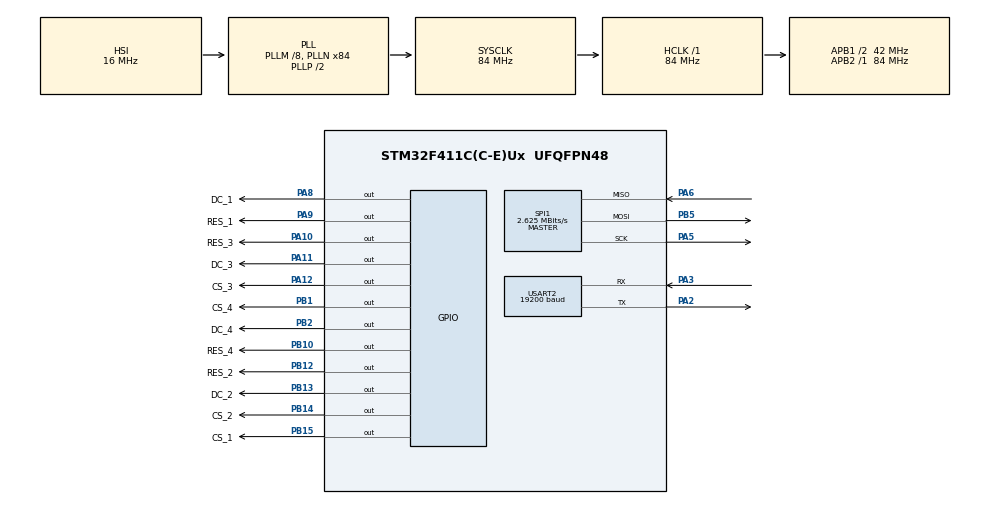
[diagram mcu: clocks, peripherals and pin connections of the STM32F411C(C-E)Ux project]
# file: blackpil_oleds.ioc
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Mcu.Family=STM32F4
Mcu.Name=STM32F411C(C-E)Ux
Mcu.Package=UFQFPN48
NVIC.PriorityGroup=NVIC_PRIORITYGROUP_4
NVIC.USART2_IRQn=true\:0\:0\:false\:false\:true\:true\:true\:true
PA10.GPIO_Label=RES_3
PA10.Signal=GPIO_Output
PA11.GPIO_Label=DC_3
PA11.Signal=GPIO_Output
PA12.GPIO_Label=CS_3
PA12.Signal=GPIO_Output
PA2.Mode=Asynchronous
PA2.Signal=USART2_TX
PA3.Mode=Asynchronous
PA3.Signal=USART2_RX
PA5.Mode=Full_Duplex_Master
PA5.Signal=SPI1_SCK
PA6.Mode=Full_Duplex_Master
PA6.Signal=SPI1_MISO
PA8.GPIO_Label=DC_1
PA8.Signal=GPIO_Output
PA9.GPIO_Label=RES_1
PA9.Signal=GPIO_Output
PB1.GPIO_Label=CS_4
PB1.Signal=GPIO_Output
PB10.GPIO_Label=RES_4
PB10.Signal=GPIO_Output
PB12.GPIO_Label=RES_2
PB12.Signal=GPIO_Output
PB13.GPIO_Label=DC_2
PB13.Signal=GPIO_Output
PB14.GPIO_Label=CS_2
PB14.Signal=GPIO_Output
PB15.GPIO_Label=CS_1
PB15.Signal=GPIO_Output
PB2.GPIO_Label=DC_4
PB2.Signal=GPIO_Output
PB5.Mode=Full_Duplex_Master
PB5.Signal=SPI1_MOSI
PH0\ -\ OSC_IN.Mode=HSE-External-Oscillator
PH0\ -\ OSC_IN.Signal=RCC_OSC_IN
PH1\ -\ OSC_OUT.Mode=HSE-External-Oscillator
PH1\ -\ OSC_OUT.Signal=RCC_OSC_OUT
ProjectManager.HeapSize=0x200
ProjectManager.StackSize=0x400
ProjectManager.TargetToolchain=STM32CubeIDE
RCC.48MHZClocksFreq_Value=42000000
RCC.AHBFreq_Value=84000000
RCC.APB1CLKDivider=RCC_HCLK_DIV2
RCC.APB1Freq_Value=42000000
RCC.APB1TimFreq_Value=84000000
RCC.APB2Freq_Value=84000000
RCC.APB2TimFreq_Value=84000000
RCC.CortexFreq_Value=84000000
RCC.HCLKFreq_Value=84000000
RCC.HSE_VALUE=25000000
RCC.HSI_VALUE=16000000
RCC.LSE_VALUE=32768
RCC.PLLM=8
RCC.PLLN=84
RCC.SYSCLKFreq_VALUE=84000000
RCC.SYSCLKSource=RCC_SYSCLKSOURCE_PLLCLK
RCC.VCOOutputFreq_Value=168000000
SPI1.BaudRatePrescaler=SPI_BAUDRATEPRESCALER_32
SPI1.CalculateBaudRate=2.625 MBits/s
SPI1.Direction=SPI_DIRECTION_2LINES
SPI1.Mode=SPI_MODE_MASTER
SPI1.VirtualType=VM_MASTER
USART2.BaudRate=19200
USART2.VirtualMode=VM_ASYNC
board=custom

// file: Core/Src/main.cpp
/* USER CODE BEGIN Header */
/**
  ******************************************************************************
  * @file           : main.c
  * @brief          : Main program body
  ******************************************************************************
  * @attention
  *
  * Copyright (c) 2024 STMicroelectronics.
  * All rights reserved.
  *
  * This software is licensed under terms that can be found in the LICENSE file
  * in the root directory of this software component.
  * If no LICENSE file comes with this software, it is provided AS-IS.
  *
  ******************************************************************************
  */
/* USER CODE END Header */
#include "main.h"
#include "spi.h"
#include "usart.h"
#include "gpio.h"

/* USER CODE BEGIN Includes */
#include "map"
#include "ssd1306.h"
#include "ssd1306_fonts.h"
#include "bitmaps.h"
#include "oled.hpp"
#include "uart_handler.hpp"
/* USER CODE END Includes */

void SystemClock_Config(void);

/* USER CODE BEGIN 0 */
OLED*  display1 = nullptr;
OLED*  display2 = nullptr;
OLED*  display3 = nullptr;
OLED*  display4 = nullptr;

std::map<std::string, OLED*> oleds_map;
/* USER CODE END 0 */

int main(void)
{

  /* MCU Configuration--------------------------------------------------------*/

  /* Reset of all peripherals, Initializes the Flash interface and the Systick. */
  HAL_Init();

  /* Configure the system clock */
  SystemClock_Config();

  /* Initialize all configured peripherals */
  MX_GPIO_Init();
  MX_SPI1_Init();
  MX_USART2_UART_Init();
  /* USER CODE BEGIN 2 */
  HAL_UART_Receive_IT(&huart2, (uint8_t*)&single_byte, sizeof(single_byte));

  display1 = new OLED(&hspi1, CS_1_GPIO_Port, CS_1_Pin, DC_1_GPIO_Port, DC_1_Pin, RES_1_GPIO_Port, RES_1_Pin);
  display2 = new OLED(&hspi1, CS_2_GPIO_Port, CS_2_Pin, DC_2_GPIO_Port, DC_2_Pin, RES_2_GPIO_Port, RES_2_Pin);
  display3 = new OLED(&hspi1, CS_3_GPIO_Port, CS_3_Pin, DC_3_GPIO_Port, DC_3_Pin, RES_3_GPIO_Port, RES_3_Pin);
  display4 = new OLED(&hspi1, CS_4_GPIO_Port, CS_4_Pin, DC_4_GPIO_Port, DC_4_Pin, RES_4_GPIO_Port, RES_4_Pin);

  oleds_map["D1"] = display1;
  oleds_map["D2"] = display2;
  oleds_map["D3"] = display3;
  oleds_map["D4"] = display4;

  display1->init();
  display2->init();
  display3->init();
  display4->init();

  display1->addSegment(go_bitmap, 14, 2, x_default, y_default);
  display1->addSegment(one_bitmap, 14, 2, x_default, y_default);
  display1->addSegment(two_bitmap, 14, 2, x_default, y_default);
  display1->addSegment(three_bitmap, 14, 2, x_default, y_default);
  display1->addSegment(four_bitmap, 14, 2, x_default, y_default);
  display1->addSegment(five_bitmap, 14, 2, x_default, y_default);
  display1->addSegment(ready_bitmap, 14, 2, x_default, y_default);

  display2->addSegment(go_bitmap, 14, 2, x_default, y_default);
  display2->addSegment(one_bitmap, 14, 2, x_default, y_default);
  display2->addSegment(two_bitmap, 14, 2, x_default, y_default);
  display2->addSegment(three_bitmap, 14, 2, x_default, y_default);
  display2->addSegment(four_bitmap, 14, 2, x_default, y_default);
  display2->addSegment(five_bitmap, 14, 2, x_default, y_default);
  display2->addSegment(ready_bitmap, 14, 2, x_default, y_default);

  display3->addSegment(go_bitmap, 14, 2, x_default, y_default);
  display3->addSegment(one_bitmap, 14, 2, x_default, y_default);
  display3->addSegment(two_bitmap, 14, 2, x_default, y_default);
  display3->addSegment(three_bitmap, 14, 2, x_default, y_default);
  display3->addSegment(four_bitmap, 14, 2, x_default, y_default);
  display3->addSegment(five_bitmap, 14, 2, x_default, y_default);
  display3->addSegment(ready_bitmap, 14, 2, x_default, y_default);

  display4->addSegment(go_bitmap, 14, 2, x_default, y_default);
  display4->addSegment(one_bitmap, 14, 2, x_default, y_default);
  display4->addSegment(two_bitmap, 14, 2, x_default, y_default);
  display4->addSegment(three_bitmap, 14, 2, x_default, y_default);
  display4->addSegment(four_bitmap, 14, 2, x_default, y_default);
  display4->addSegment(five_bitmap, 14, 2, x_default, y_default);
  display4->addSegment(ready_bitmap, 14, 2, x_default, y_default);

//  display2->addSegment(ready_bitmap, 14, 2, x_default, y_default);
//  display2->addSegment(go_bitmap, 14, 2, x_default, y_default);
//  display2->addSegment(one_bitmap, 14, 2, x_default, y_default);
//  display2->addSegment(two_bitmap, 14, 2, x_default, y_default);
//  display2->addSegment(three_bitmap, 14, 2, x_default, y_default);
//  display2->addSegment(four_bitmap, 14, 2, x_default, y_default);
//  display2->addSegment(five_bitmap, 14, 2, x_default, y_default);

display1->setSegment(1);
display2->setSegment(2);
display3->setSegment(3);
display4->setSegment(4);
  /* USER CODE END 2 */

  /* Infinite loop */
  while (1)
  {

    /* USER CODE BEGIN 3 */

	  uart_CmdHandler();
  }
  /* USER CODE END 3 */
}

void SystemClock_Config(void)
{
  RCC_OscInitTypeDef RCC_OscInitStruct = {0};
  RCC_ClkInitTypeDef RCC_ClkInitStruct = {0};

  /** Configure the main internal regulator output voltage
  */
  __HAL_RCC_PWR_CLK_ENABLE();
  __HAL_PWR_VOLTAGESCALING_CONFIG(PWR_REGULATOR_VOLTAGE_SCALE1);

  /** Initializes the RCC Oscillators according to the specified parameters
  * in the RCC_OscInitTypeDef structure.
  */
  RCC_OscInitStruct.OscillatorType = RCC_OSCILLATORTYPE_HSI;
  RCC_OscInitStruct.HSIState = RCC_HSI_ON;
  RCC_OscInitStruct.HSICalibrationValue = RCC_HSICALIBRATION_DEFAULT;
  RCC_OscInitStruct.PLL.PLLState = RCC_PLL_ON;
  RCC_OscInitStruct.PLL.PLLSource = RCC_PLLSOURCE_HSI;
  RCC_OscInitStruct.PLL.PLLM = 8;
  RCC_OscInitStruct.PLL.PLLN = 84;
  RCC_OscInitStruct.PLL.PLLP = RCC_PLLP_DIV2;
  RCC_OscInitStruct.PLL.PLLQ = 4;
  if (HAL_RCC_OscConfig(&RCC_OscInitStruct) != HAL_OK)
  {
    Error_Handler();
  }

  /** Initializes the CPU, AHB and APB buses clocks
  */
  RCC_ClkInitStruct.ClockType = RCC_CLOCKTYPE_HCLK|RCC_CLOCKTYPE_SYSCLK
                              |RCC_CLOCKTYPE_PCLK1|RCC_CLOCKTYPE_PCLK2;
  RCC_ClkInitStruct.SYSCLKSource = RCC_SYSCLKSOURCE_PLLCLK;
  RCC_ClkInitStruct.AHBCLKDivider = RCC_SYSCLK_DIV1;
  RCC_ClkInitStruct.APB1CLKDivider = RCC_HCLK_DIV2;
  RCC_ClkInitStruct.APB2CLKDivider = RCC_HCLK_DIV1;

  if (HAL_RCC_ClockConfig(&RCC_ClkInitStruct, FLASH_LATENCY_2) != HAL_OK)
  {
    Error_Handler();
  }
}

void Error_Handler(void)
{
  __disable_irq();
  while (1)
  {
  }
}
